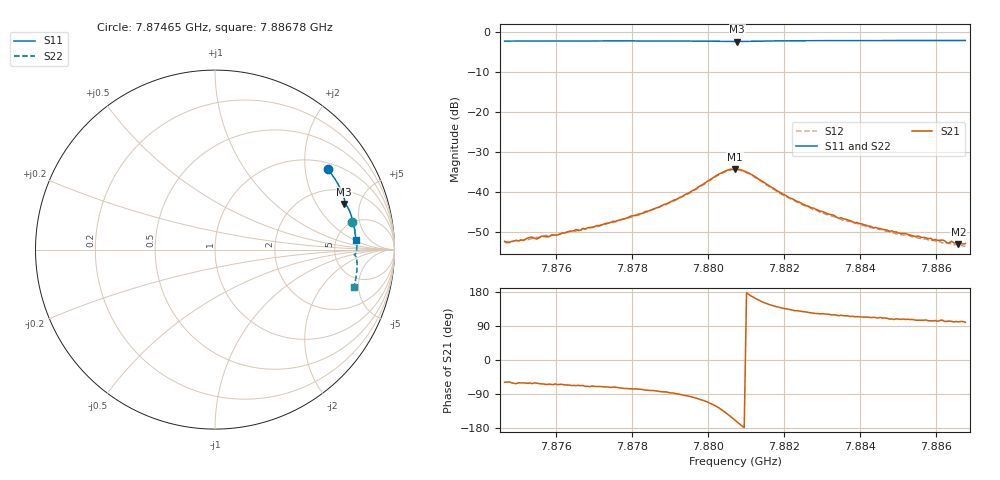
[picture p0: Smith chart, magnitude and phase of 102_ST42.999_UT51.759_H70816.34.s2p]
#  HZ  S  DB  R  50.00
! Rohde & Schwarz Vector Network Analyzer
! Rohde-Schwarz,ZNB20-2Port,1311601062101988,3.16
! Created: UTC 1/12/2023, 6:36:48 PM
! freq[Hz]  db:S11  ang:S11  db:S21  ang:S21  db:S12  ang:S12  db:S22  ang:S22
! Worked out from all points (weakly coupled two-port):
!   201 points, 7.87465 GHz to 7.88678 GHz, reference 50 ohm
!   highest |S21| = -34.22 dB at 7.88071 GHz (marker M1); lowest = -53.0 dB at 7.88659 GHz (marker M2)
!   lowest |S11| = -2.3 dB at 7.88077 GHz (marker M3), VSWR 7.46, Z = 146 + j178 ohm
!   |S11| at or under -10 dB: nowhere
!   |S22| runs from -2.2 to -1.9 dB; largest |S21 - S12| = 0.0013
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7.874645e9  -2.24 35.5  -52.33 -58.9  -52.56 -63.1  -2.14 11.5
7.874767e9  -2.24 35.1  -52.63 -57.7  -52.35 -61.9  -2.13 11.2
7.875373e9  -2.23 33.5  -51.24 -62.4  -51.56 -64.9  -2.11 9.8
7.875494e9  -2.23 33.2  -51.72 -61.2  -51.28 -67.9  -2.11 9.5
7.875616e9  -2.22 32.8  -51.01 -63.2  -51.11 -65.2  -2.10 9.2
7.875798e9  -2.22 32.3  -51.20 -64.0  -51.03 -67.3  -2.10 8.8
7.876708e9  -2.20 29.8  -49.04 -67.2  -49.24 -70.2  -2.08 6.6
7.87786e9  -2.19 26.7  -46.51 -75.1  -46.71 -78.4  -2.06 3.9
7.878709e9  -2.19 24.3  -43.79 -83.0  -43.72 -86.5  -2.05 1.9
7.879498e9  -2.21 22.1  -40.19 -95.4  -40.33 -99.2  -2.06 -0.0
7.880286e9  -2.29 20.0  -35.51 -126.3  -35.67 -129.8  -2.15 -1.8
7.880711e9  -2.34 19.5  -34.22 -158.7  -34.38 -162.1  -2.20 -2.2
7.880771e9  -2.34 19.4  -34.27 -163.8  -34.41 -167.1  -2.20 -2.2
7.881135e9  -2.29 19.0  -35.55 168.8  -35.70 165.6  -2.14 -2.4
7.882106e9  -2.16 16.3  -41.22 134.4  -41.35 130.3  -2.02 -4.6
7.882773e9  -2.14 14.5  -43.99 123.6  -44.39 121.3  -1.97 -6.1
7.88344e9  -2.12 12.7  -46.55 117.0  -46.57 114.4  -1.95 -7.7
7.884774e9  -2.10 9.1  -49.80 108.1  -49.92 106.5  -1.94 -10.7
7.886291e9  -2.09 5.2  -52.73 102.0  -52.61 100.8  -1.91 -14.0
7.886412e9  -2.09 4.9  -52.30 101.9  -52.86 99.0  -1.92 -14.2
7.886594e9  -2.08 4.4  -53.01 100.5  -53.34 97.7  -1.92 -14.6
7.886776e9  -2.08 3.9  -52.87 99.3  -53.52 97.9  -1.91 -15.0
